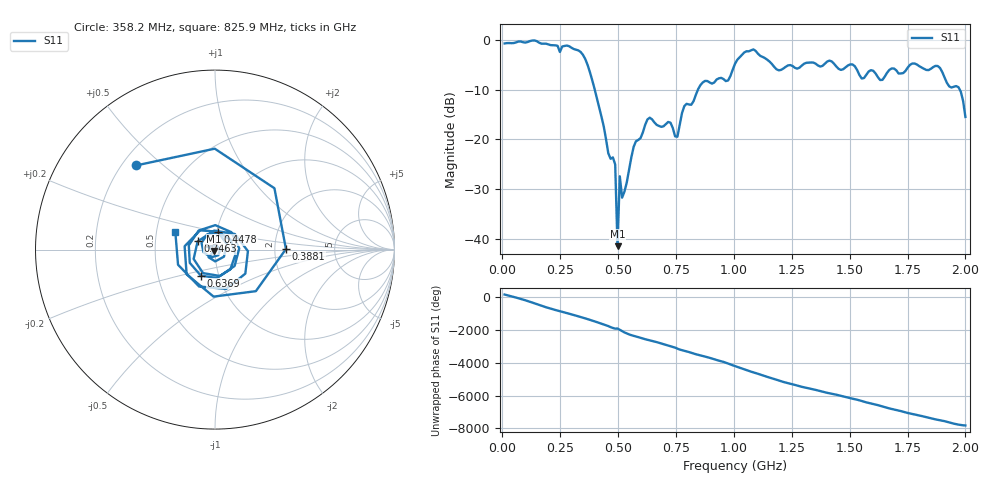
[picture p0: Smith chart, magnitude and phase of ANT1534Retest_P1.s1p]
!Created with skrf (http://scikit-rf.org).
# Hz S RI R 50.0
!freq ReS11 ImS11
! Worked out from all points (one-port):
!   201 points, 10 MHz to 2 GHz, reference 50 ohm
!   lowest |S11| = -41.5 dB at 497.6 MHz (marker M1), VSWR 1.02, Z = 49.5 - j0.699 ohm
!   |S11| at or under -10 dB: 399.3 MHz to 844.9 MHz (445.7 MHz wide, 71.6 % of centre); 1.976 GHz to end of sweep
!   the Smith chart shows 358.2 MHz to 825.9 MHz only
!   S11 on the Smith chart (normalised r, x): 358.2 MHz: 0.26, +0.41; 388.1 MHz: 2.31, +0.02; 447.8 MHz: 1.01, +0.20; 636.9 MHz: 0.82, -0.24; 746.3 MHz: 0.82, +0.08; 825.9 MHz: 0.63, +0.13
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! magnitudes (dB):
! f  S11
! 10 MHz  -0.7
! 258.8 MHz  -1.3
! 358.2 MHz  -3.8
! 388.1 MHz  -8.1
! 447.8 MHz  -19.9
! 487.6 MHz  -25.1
! 497.6 MHz  -41.5
! 507.5 MHz  -27.4
! 517.5 MHz  -31.7
! 567.2 MHz  -21.5
! 636.9 MHz  -15.6
! 726.4 MHz  -16.7
! 746.3 MHz  -19.4
! 756.2 MHz  -19.5
! 786.1 MHz  -13.3
! 825.9 MHz  -12.3
! 865.7 MHz  -8.6
! 975.1 MHz  -8.2
! 1.005 GHz  -4.8
! 1.085 GHz  -1.9
! 1.194 GHz  -6.1
! 1.254 GHz  -5.3
! 1.502 GHz  -4.9
! 1.632 GHz  -8.1
! 1.751 GHz  -5.5
! 1.881 GHz  -5.3
! 1.97 GHz  -9.5
! 2 GHz  -15.5
